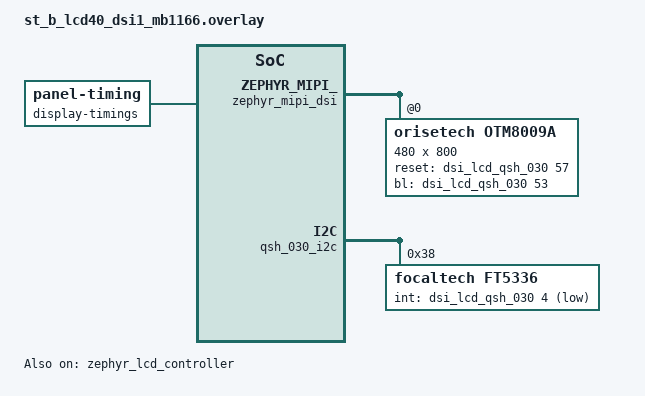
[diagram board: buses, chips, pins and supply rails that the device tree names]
/*
 * Copyright (c) 2023 bytes at work AG
 *
 * SPDX-License-Identifier: Apache-2.0
 */

#include <zephyr/dt-bindings/display/panel.h>

/ {
	lvgl_pointer {
		compatible = "zephyr,lvgl-pointer-input";
		input = <&ft5336>;
		invert-y;
	};

	chosen {
		zephyr,display = &zephyr_lcd_controller;
	};
};

&zephyr_mipi_dsi {
	status = "okay";

	otm8009a: otm8009a@0 {
		status = "okay";
		compatible = "orisetech,otm8009a";
		reg = <0x0>;
		height = <800>;
		width = <480>;
		reset-gpios = <&dsi_lcd_qsh_030 57 GPIO_ACTIVE_HIGH>;
		bl-gpios = <&dsi_lcd_qsh_030 53 GPIO_ACTIVE_HIGH>;
		data-lanes = <2>;
		pixel-format = <MIPI_DSI_PIXFMT_RGB888>;
		rotation = <90>;
	};
};

&zephyr_lcd_controller {
	status = "okay";
	width = <800>;
	height = <480>;
	pixel-format = <PANEL_PIXEL_FORMAT_RGB_888>;

	/* orisetech, otm8009a */
	display-timings {
		compatible = "zephyr,panel-timing";
		hsync-active = <0>;
		vsync-active = <0>;
		de-active = <0>;
		pixelclk-active = <0>;
		hsync-len = <2>;
		vsync-len = <1>;
		hback-porch = <34>;
		vback-porch = <15>;
		hfront-porch = <34>;
		vfront-porch = <16>;
	};
};

&qsh_030_i2c {
	ft5336: ft5336@38 {
		compatible = "focaltech,ft5336";
		reg = <0x38>;
		int-gpios = <&dsi_lcd_qsh_030 4 GPIO_ACTIVE_LOW>;
		status = "okay";
	};
};
